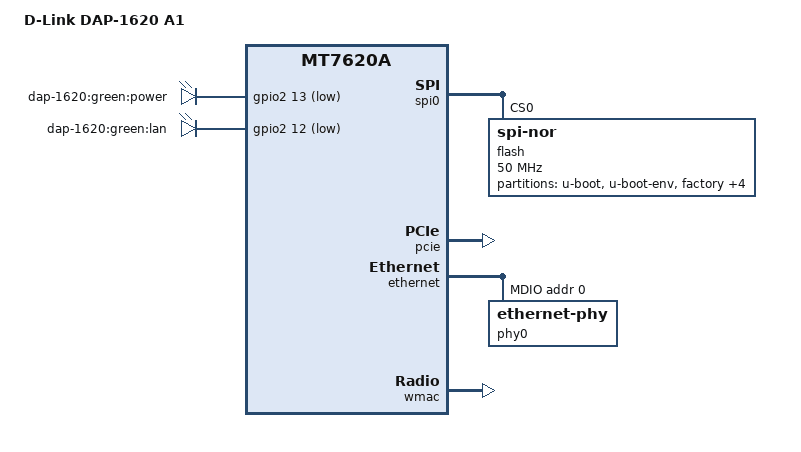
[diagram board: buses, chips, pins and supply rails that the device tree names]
// SPDX-License-Identifier: GPL-2.0-or-later OR MIT

/dts-v1/;

#include "mt7620a.dtsi"

#include <dt-bindings/gpio/gpio.h>
#include <dt-bindings/input/input.h>

/ {
	compatible = "dlink,dap-1620-a1", "ralink,mt7620a-soc";
	model = "D-Link DAP-1620 A1";

	aliases {
		led-boot = &led_power;
		led-failsafe = &led_power;
	};

	leds {
		compatible = "gpio-leds";

		led_power: power {
			label = "dap-1620:green:power";
			gpios = <&gpio2 13 GPIO_ACTIVE_LOW>;
		};

		lan {
			label = "dap-1620:green:lan";
			gpios = <&gpio2 12 GPIO_ACTIVE_LOW>;
		};
	};
};

&gpio1 {
	status = "okay";
};

&gpio2 {
	status = "okay";
};

&gpio3 {
	status = "okay";
};

&spi0 {
	status = "okay";

	flash@0 {
		compatible = "jedec,spi-nor";
		reg = <0>;
		spi-max-frequency = <50000000>;

		partitions {
			compatible = "fixed-partitions";
			#address-cells = <1>;
			#size-cells = <1>;

			partition@0 {
				label = "u-boot";
				reg = <0x0 0x30000>;
				read-only;
			};

			partition@30000 {
				label = "u-boot-env";
				reg = <0x30000 0x10000>;
				read-only;
			};

			factory: partition@40000 {
				label = "factory";
				reg = <0x40000 0x10000>;
				read-only;
			};

			partition@50000 {
				label = "firmware";
				reg = <0x50000 0x490000>;
				compatible = "denx,uimage";
			};

			partition@4e0000 {
				label = "lang";
				reg = <0x4e0000 0x10000>;
				read-only;
			};

			partition@4f0000 {
				label = "linux4b";
				reg = <0x4f0000 0xd0000>;
				read-only;
			};

			partition@5c0000 {
				label = "rootfsb";
				reg = <0x5c0000 0x240000>;
				read-only;
			};
		};
	};
};


&state_default {
	default {
		groups = "ephy", "uartf", "spi refclk", "wled";
		function = "gpio";
	};
};

&pcie {
	status = "okay";
};

&pcie0 {
	wifi@0,0 {
		reg = <0x0000 0 0 0 0>;
		ieee80211-freq-limit = <5000000 6000000>;
		mtd-mac-address = <&factory 0x0>;
		mtd-mac-address-increment = <(2)>;

		led {
			led-sources = <2>;
			led-active-low;
		};
	};
};


&ethernet {
	mtd-mac-address = <&factory 0x4>;

	port@0 {
		phy-handle = <&phy0>;
		phy-mode = "rgmii";
	};

	mdio-bus {
		status = "okay";

		phy0: ethernet-phy@0 {
			reg = <0>;
			phy-mode = "rgmii";
		};
	};
};

&wmac {
	status = "okay";
	ralink,mtd-eeprom = <&factory 0x0>;
	ralink,5ghz = <0>;
	mtd-mac-address = <&factory 0x4>;
	mtd-mac-address-increment = <1>;
};
